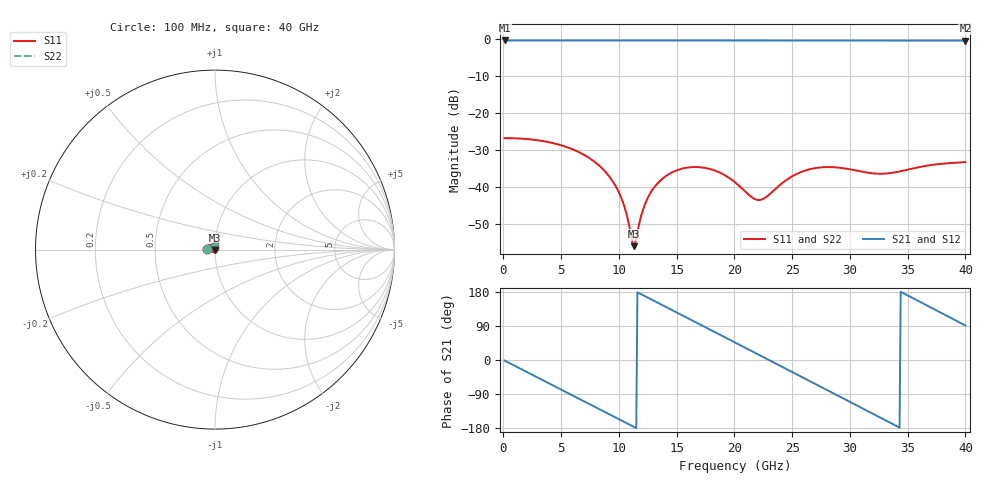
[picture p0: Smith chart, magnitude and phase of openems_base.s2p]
! thru_ts6_L6: 2×thru, L6, 8 mm
! stackup: ThunderScope Rev5.3 6-layer (FR408HR / FR-4, from the board file)
! ports: 1, 2
! openEMS 0.37.0, staircase, base mesh (dfine 0.035 mm), 365568 cells
# Hz S RI R 50
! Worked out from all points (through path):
!   400 points, 100 MHz to 40 GHz, reference 50 ohm
!   highest |S21| = -0.41 dB at 100 MHz (marker M1); lowest = -0.5 dB at 40 GHz (marker M2)
!   group delay of S21, straight-line fit = 43.7 ps
!   lowest |S11| = -56.0 dB at 11.3 GHz (marker M3), VSWR 1.00, Z = 50.1 - j0.138 ohm
!   |S11| at or under -10 dB: start of sweep to end of sweep
!   |S22| runs from -56.0 to -26.8 dB; largest |S21 - S12| = 0
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1e8  -0.0457 0.000901  0.9538 -0.026  0.9538 -0.026  -0.0457 0.000901
1.9e9  -0.0414 0.0166  0.8288 -0.4725  0.8288 -0.4725  -0.0414 0.0166
3.8e9  -0.0288 0.0287  0.486 -0.8209  0.486 -0.8209  -0.0288 0.0287
6.8e9  -0.00245 0.028  -0.2669 -0.9156  -0.2669 -0.9156  -0.00245 0.028
9.7e9  0.007 0.00766  -0.8384 -0.4536  -0.8384 -0.4536  0.007 0.00766
1.05e10  0.0047 0.00236  -0.9167 -0.2611  -0.9167 -0.2611  0.0047 0.00236
1.13e10  0.000793 -0.00137  -0.9514 -0.0563  -0.9514 -0.0563  0.000793 -0.00137
1.22e10  -0.00462 -0.0031  -0.9364 0.1768  -0.9364 0.1768  -0.00462 -0.0031
1.34e10  -0.0114 -0.00108  -0.8295 0.4688  -0.8295 0.4688  -0.0114 -0.00108
1.68e10  -0.00957 0.0159  -0.1203 0.945  -0.1203 0.945  -0.00957 0.0159
1.84e10  0.000606 0.0164  0.2919 0.9066  0.2919 0.9066  0.000606 0.0164
2.01e10  0.00818 0.00796  0.6679 0.6786  0.6679 0.6786  0.00818 0.00796
2.19e10  0.00549 -0.00391  0.9093 0.281  0.9093 0.281  0.00549 -0.00391
2.33e10  -0.00318 -0.00807  0.948 -0.0802  0.948 -0.0802  -0.00318 -0.00807
2.49e10  -0.0132 -0.00347  0.8236 -0.4758  0.8236 -0.4758  -0.0132 -0.00347
2.67e10  -0.0149 0.00937  0.4988 -0.8096  0.4988 -0.8096  -0.0149 0.00937
2.83e10  -0.00545 0.0178  0.106 -0.9448  0.106 -0.9448  -0.00545 0.0178
2.99e10  0.00806 0.0155  -0.3073 -0.8995  -0.3073 -0.8995  0.00806 0.0155
3.34e10  0.0079 -0.0132  -0.914 -0.2583  -0.914 -0.2583  0.0079 -0.0132
3.64e10  -0.018 -0.0063  -0.807 0.4995  -0.807 0.4995  -0.018 -0.0063
3.83e10  -0.016 0.0133  -0.4467 0.837  -0.4467 0.837  -0.016 0.0133
4e10  0.00135 0.0216  -0.0177 0.9482  -0.0177 0.9482  0.00135 0.0216
